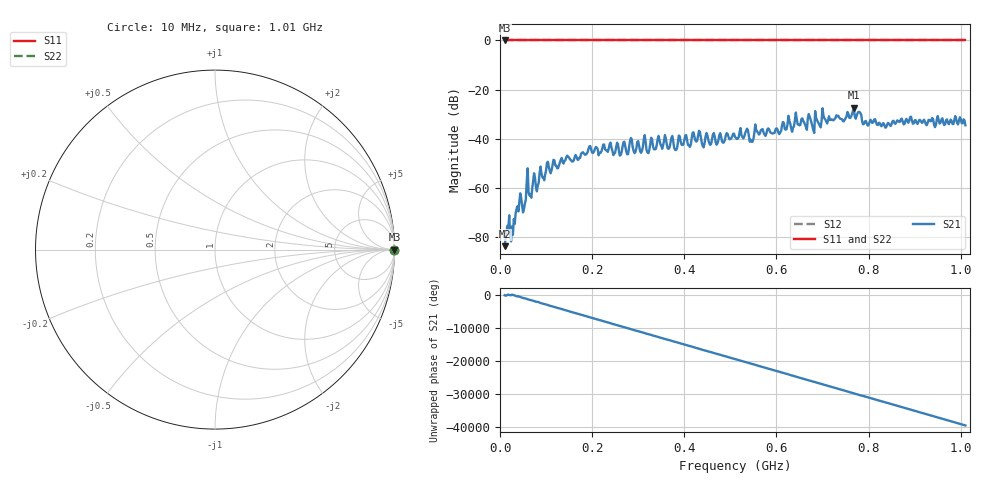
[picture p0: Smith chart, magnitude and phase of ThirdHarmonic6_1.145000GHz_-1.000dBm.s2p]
! 8/16/2025 11:18:19 AM
! C:\ANRITSUVNA\TEMP\TEMP.S2P
! CHANNEL.1
! TR.MEASUREMENT
! RAW.DATA
! RF.CORRECTION.OFF
! AVERAGING.OFF
! IF.BANDWIDTH: 5KHZ
! SWEEPTYPE:  FREQ.SWEEP(Linear)
! Reference Plane Port Info
! PORT:  PORT1  PORT2
! DISTANCE:  0  m  0  m
! TIME:  0  s  0  s
! PHASE.OFFSET:  0  deg.  0  deg.
! LOSS:  0  dB  0  dB
! REF.LOSS:  0  dB  0  dB
! REF.FREQ:  0  Hz  0  Hz
! Power Info
! POWER:  -20  dBm  -20  dBm
! EFF.POWER:  -20  dBm  -20  dBm
! SOURCE.ATTEN:  0  dB  0  dB
! TEST.ATTEN:  0  dB  0  dB
# GHZ S RI R 50.0
! FREQ.GHZ  S11RE  S11IM  S21RE  S21IM  S12RE  S12IM  S22RE  S22IM
!; PortSelection: Port_12
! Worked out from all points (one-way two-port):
!   501 points, 10 MHz to 1.01 GHz, reference 50 ohm
!   highest |S21| = -27.41 dB at 768 MHz (marker M1); lowest = -83.7 dB at 10 MHz (marker M2)
!   lowest |S11| = 0.0 dB at 10 MHz (marker M3)
!   |S11| at or under -10 dB: nowhere
!   |S22| runs from 0.0 to 0.0 dB; largest |S21 - S12| = 1
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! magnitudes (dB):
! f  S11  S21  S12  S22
! 10 MHz  0.0  -83.7  0.0  0.0
! 26 MHz  0.0  -75.7  0.0  0.0
! 42 MHz  0.0  -65.6  0.0  0.0
! 52 MHz  0.0  -68.7  0.0  0.0
! 62 MHz  0.0  -61.7  0.0  0.0
! 66 MHz  0.0  -62.7  0.0  0.0
! 104 MHz  0.0  -49.4  0.0  0.0
! 178 MHz  0.0  -45.7  0.0  0.0
! 284 MHz  0.0  -39.7  0.0  0.0
! 322 MHz  0.0  -45.9  0.0  0.0
! 344 MHz  0.0  -38.8  0.0  0.0
! 382 MHz  0.0  -44.6  0.0  0.0
! 420 MHz  0.0  -37.4  0.0  0.0
! 510 MHz  0.0  -39.1  0.0  0.0
! 536 MHz  0.0  -35.9  0.0  0.0
! 546 MHz  0.0  -41.2  0.0  0.0
! 556 MHz  0.0  -36.4  0.0  0.0
! 672 MHz  0.0  -31.1  0.0  0.0
! 678 MHz  0.0  -35.1  0.0  0.0
! 768 MHz  0.0  -27.4  0.0  0.0
! 844 MHz  0.0  -33.8  0.0  0.0
! 1.01 GHz  0.0  -34.5  0.0  0.0
